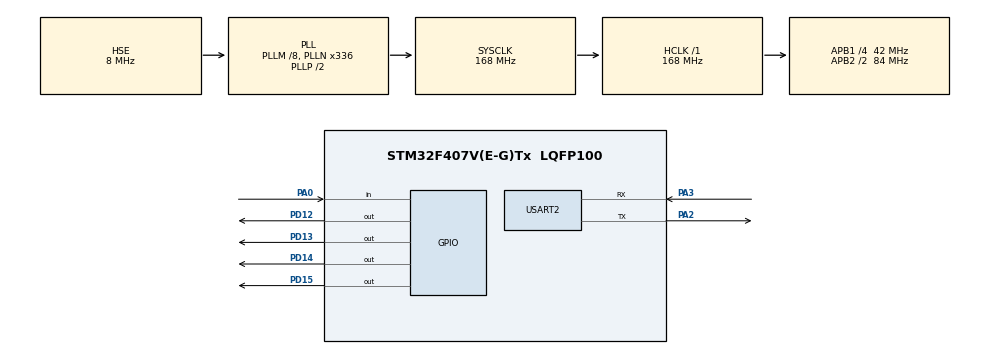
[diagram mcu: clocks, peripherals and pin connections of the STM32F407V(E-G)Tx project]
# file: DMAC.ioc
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Dma.Request0=USART2_RX
Dma.Request1=USART2_TX
Dma.USART2_RX.0.Direction=DMA_PERIPH_TO_MEMORY
Dma.USART2_RX.0.FIFOMode=DMA_FIFOMODE_DISABLE
Dma.USART2_RX.0.Instance=DMA1_Stream5
Dma.USART2_RX.0.MemDataAlignment=DMA_MDATAALIGN_BYTE
Dma.USART2_RX.0.MemInc=DMA_MINC_ENABLE
Dma.USART2_RX.0.Mode=DMA_CIRCULAR
Dma.USART2_RX.0.PeriphDataAlignment=DMA_PDATAALIGN_BYTE
Dma.USART2_RX.0.PeriphInc=DMA_PINC_DISABLE
Dma.USART2_RX.0.Priority=DMA_PRIORITY_LOW
Dma.USART2_TX.1.Direction=DMA_MEMORY_TO_PERIPH
Dma.USART2_TX.1.FIFOMode=DMA_FIFOMODE_DISABLE
Dma.USART2_TX.1.Instance=DMA1_Stream6
Dma.USART2_TX.1.MemDataAlignment=DMA_MDATAALIGN_BYTE
Dma.USART2_TX.1.MemInc=DMA_MINC_ENABLE
Dma.USART2_TX.1.Mode=DMA_NORMAL
Dma.USART2_TX.1.PeriphDataAlignment=DMA_PDATAALIGN_BYTE
Dma.USART2_TX.1.PeriphInc=DMA_PINC_DISABLE
Dma.USART2_TX.1.Priority=DMA_PRIORITY_LOW
Mcu.Family=STM32F4
Mcu.Name=STM32F407V(E-G)Tx
Mcu.Package=LQFP100
NVIC.DMA1_Stream5_IRQn=true\:0\:0\:false\:false\:true\:false\:true\:true
NVIC.DMA1_Stream6_IRQn=true\:0\:0\:false\:false\:true\:false\:true\:true
NVIC.PriorityGroup=NVIC_PRIORITYGROUP_0
PA0-WKUP.Signal=GPIO_Input
PA2.Mode=Asynchronous
PA2.Signal=USART2_TX
PA3.Mode=Asynchronous
PA3.Signal=USART2_RX
PD12.Signal=GPIO_Output
PD13.Signal=GPIO_Output
PD14.Signal=GPIO_Output
PD15.Signal=GPIO_Output
PH0-OSC_IN.Mode=HSE-External-Oscillator
PH0-OSC_IN.Signal=RCC_OSC_IN
PH1-OSC_OUT.Mode=HSE-External-Oscillator
PH1-OSC_OUT.Signal=RCC_OSC_OUT
ProjectManager.HeapSize=0x200
ProjectManager.StackSize=0x400
ProjectManager.TargetToolchain=STM32CubeIDE
RCC.48MHZClocksFreq_Value=48000000
RCC.AHBFreq_Value=168000000
RCC.APB1CLKDivider=RCC_HCLK_DIV4
RCC.APB1Freq_Value=42000000
RCC.APB1TimFreq_Value=84000000
RCC.APB2CLKDivider=RCC_HCLK_DIV2
RCC.APB2Freq_Value=84000000
RCC.APB2TimFreq_Value=168000000
RCC.CortexFreq_Value=168000000
RCC.HCLKFreq_Value=168000000
RCC.HSE_VALUE=8000000
RCC.HSI_VALUE=16000000
RCC.PLLM=8
RCC.PLLN=336
RCC.PLLQ=7
RCC.PLLSourceVirtual=RCC_PLLSOURCE_HSE
RCC.SYSCLKFreq_VALUE=168000000
RCC.SYSCLKSource=RCC_SYSCLKSOURCE_PLLCLK
RCC.VCOOutputFreq_Value=336000000
USART2.VirtualMode=VM_ASYNC
board=STM32F407G-DISC1

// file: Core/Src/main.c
/* USER CODE BEGIN Header */
/**
  ******************************************************************************
  * @file           : main.c
  * @brief          : Main program body
  ******************************************************************************
  * @attention
  *
  * Copyright (c) 2026 STMicroelectronics.
  * All rights reserved.
  *
  * This software is licensed under terms that can be found in the LICENSE file
  * in the root directory of this software component.
  * If no LICENSE file comes with this software, it is provided AS-IS.
  *
  ******************************************************************************
  */
/* USER CODE END Header */
#include "main.h"

UART_HandleTypeDef huart2;
DMA_HandleTypeDef hdma_usart2_rx;
DMA_HandleTypeDef hdma_usart2_tx;

/* USER CODE BEGIN PV */
uint8_t bigBuffer[1024];
/* USER CODE END PV */

void SystemClock_Config(void);
static void MX_GPIO_Init(void);
static void MX_DMA_Init(void);
static void MX_USART2_UART_Init(void);

/* USER CODE BEGIN 0 */
// Callback khi truyền xong
void HAL_UART_TxCpltCallback(UART_HandleTypeDef *huart)
{
  if (huart->Instance == USART2)
  {
    HAL_GPIO_TogglePin(GPIOD, GPIO_PIN_12); // LED xanh báo truyền xong
  }
}

// Callback khi nhận xong (với Circular thì sẽ gọi liên tục khi buffer đầy)
void HAL_UART_RxCpltCallback(UART_HandleTypeDef *huart)
{
  if (huart->Instance == USART2)
  {
    HAL_GPIO_TogglePin(GPIOD, GPIO_PIN_13); // LED cam báo nhận xong
    // Xử lý dữ liệu trong rxBuffer ở đây
  }
}

void fill_buffer(void)
{
    for (int i = 0; i < sizeof(bigBuffer); i++) {
        bigBuffer[i] = i & 0xFF; // dữ liệu giả
    }
}
/* USER CODE END 0 */

int main(void)
{

  /* MCU Configuration--------------------------------------------------------*/

  /* Reset of all peripherals, Initializes the Flash interface and the Systick. */
  HAL_Init();

  /* Configure the system clock */
  SystemClock_Config();

  /* Initialize all configured peripherals */
  MX_GPIO_Init();
  MX_DMA_Init();
  MX_USART2_UART_Init();
  /* USER CODE BEGIN 2 */
  fill_buffer();
  uint32_t start, end;
  // --- Truyền KHÔNG dùng DMA ---
  start = HAL_GetTick();
  HAL_UART_Transmit(&huart2, bigBuffer, sizeof(bigBuffer), HAL_MAX_DELAY);
  end = HAL_GetTick();
  uint32_t time_no_dma = end - start;
  // --- Truyền DÙNG DMA ---
  start = HAL_GetTick();
  HAL_UART_Transmit_DMA(&huart2, bigBuffer, sizeof(bigBuffer));
  // Chờ DMA truyền xong (có thể dùng flag hoặc callback)
  while (huart2.gState != HAL_UART_STATE_READY);
  end = HAL_GetTick();
  uint32_t time_dma = end - start;

  // Bật LED báo kết quả
  if (time_dma < time_no_dma) {
      HAL_GPIO_WritePin(GPIOD, GPIO_PIN_12, GPIO_PIN_SET); // LED xanh
  } else {
      HAL_GPIO_WritePin(GPIOD, GPIO_PIN_14, GPIO_PIN_SET); // LED đỏ
  }
  /* USER CODE END 2 */

  /* Infinite loop */
  while (1)
  {

  }
}

void SystemClock_Config(void)
{
  RCC_OscInitTypeDef RCC_OscInitStruct = {0};
  RCC_ClkInitTypeDef RCC_ClkInitStruct = {0};

  /** Configure the main internal regulator output voltage
  */
  __HAL_RCC_PWR_CLK_ENABLE();
  __HAL_PWR_VOLTAGESCALING_CONFIG(PWR_REGULATOR_VOLTAGE_SCALE1);

  /** Initializes the RCC Oscillators according to the specified parameters
  * in the RCC_OscInitTypeDef structure.
  */
  RCC_OscInitStruct.OscillatorType = RCC_OSCILLATORTYPE_HSE;
  RCC_OscInitStruct.HSEState = RCC_HSE_ON;
  RCC_OscInitStruct.PLL.PLLState = RCC_PLL_ON;
  RCC_OscInitStruct.PLL.PLLSource = RCC_PLLSOURCE_HSE;
  RCC_OscInitStruct.PLL.PLLM = 8;
  RCC_OscInitStruct.PLL.PLLN = 336;
  RCC_OscInitStruct.PLL.PLLP = RCC_PLLP_DIV2;
  RCC_OscInitStruct.PLL.PLLQ = 7;
  if (HAL_RCC_OscConfig(&RCC_OscInitStruct) != HAL_OK)
  {
    Error_Handler();
  }

  /** Initializes the CPU, AHB and APB buses clocks
  */
  RCC_ClkInitStruct.ClockType = RCC_CLOCKTYPE_HCLK|RCC_CLOCKTYPE_SYSCLK
                              |RCC_CLOCKTYPE_PCLK1|RCC_CLOCKTYPE_PCLK2;
  RCC_ClkInitStruct.SYSCLKSource = RCC_SYSCLKSOURCE_PLLCLK;
  RCC_ClkInitStruct.AHBCLKDivider = RCC_SYSCLK_DIV1;
  RCC_ClkInitStruct.APB1CLKDivider = RCC_HCLK_DIV4;
  RCC_ClkInitStruct.APB2CLKDivider = RCC_HCLK_DIV2;

  if (HAL_RCC_ClockConfig(&RCC_ClkInitStruct, FLASH_LATENCY_5) != HAL_OK)
  {
    Error_Handler();
  }
}

static void MX_USART2_UART_Init(void)
{

  huart2.Instance = USART2;
  huart2.Init.BaudRate = 115200;
  huart2.Init.WordLength = UART_WORDLENGTH_8B;
  huart2.Init.StopBits = UART_STOPBITS_1;
  huart2.Init.Parity = UART_PARITY_NONE;
  huart2.Init.Mode = UART_MODE_TX_RX;
  huart2.Init.HwFlowCtl = UART_HWCONTROL_NONE;
  huart2.Init.OverSampling = UART_OVERSAMPLING_16;
  if (HAL_UART_Init(&huart2) != HAL_OK)
  {
    Error_Handler();
  }

}

static void MX_DMA_Init(void)
{

  /* DMA controller clock enable */
  __HAL_RCC_DMA1_CLK_ENABLE();

  /* DMA interrupt init */
  /* DMA1_Stream5_IRQn interrupt configuration */
  HAL_NVIC_SetPriority(DMA1_Stream5_IRQn, 0, 0);
  HAL_NVIC_EnableIRQ(DMA1_Stream5_IRQn);
  /* DMA1_Stream6_IRQn interrupt configuration */
  HAL_NVIC_SetPriority(DMA1_Stream6_IRQn, 0, 0);
  HAL_NVIC_EnableIRQ(DMA1_Stream6_IRQn);

}

static void MX_GPIO_Init(void)
{
  GPIO_InitTypeDef GPIO_InitStruct = {0};

  /* GPIO Ports Clock Enable */
  __HAL_RCC_GPIOH_CLK_ENABLE();
  __HAL_RCC_GPIOA_CLK_ENABLE();
  __HAL_RCC_GPIOD_CLK_ENABLE();

  /*Configure GPIO pin Output Level */
  HAL_GPIO_WritePin(GPIOD, GPIO_PIN_12|GPIO_PIN_13|GPIO_PIN_14|GPIO_PIN_15, GPIO_PIN_RESET);

  /*Configure GPIO pin : PA0 */
  GPIO_InitStruct.Pin = GPIO_PIN_0;
  GPIO_InitStruct.Mode = GPIO_MODE_INPUT;
  GPIO_InitStruct.Pull = GPIO_PULLUP;
  HAL_GPIO_Init(GPIOA, &GPIO_InitStruct);

  /*Configure GPIO pins : PD12 PD13 PD14 PD15 */
  GPIO_InitStruct.Pin = GPIO_PIN_12|GPIO_PIN_13|GPIO_PIN_14|GPIO_PIN_15;
  GPIO_InitStruct.Mode = GPIO_MODE_OUTPUT_PP;
  GPIO_InitStruct.Pull = GPIO_NOPULL;
  GPIO_InitStruct.Speed = GPIO_SPEED_FREQ_LOW;
  HAL_GPIO_Init(GPIOD, &GPIO_InitStruct);

}

void Error_Handler(void)
{
  __disable_irq();
  while (1)
  {
  }
}
